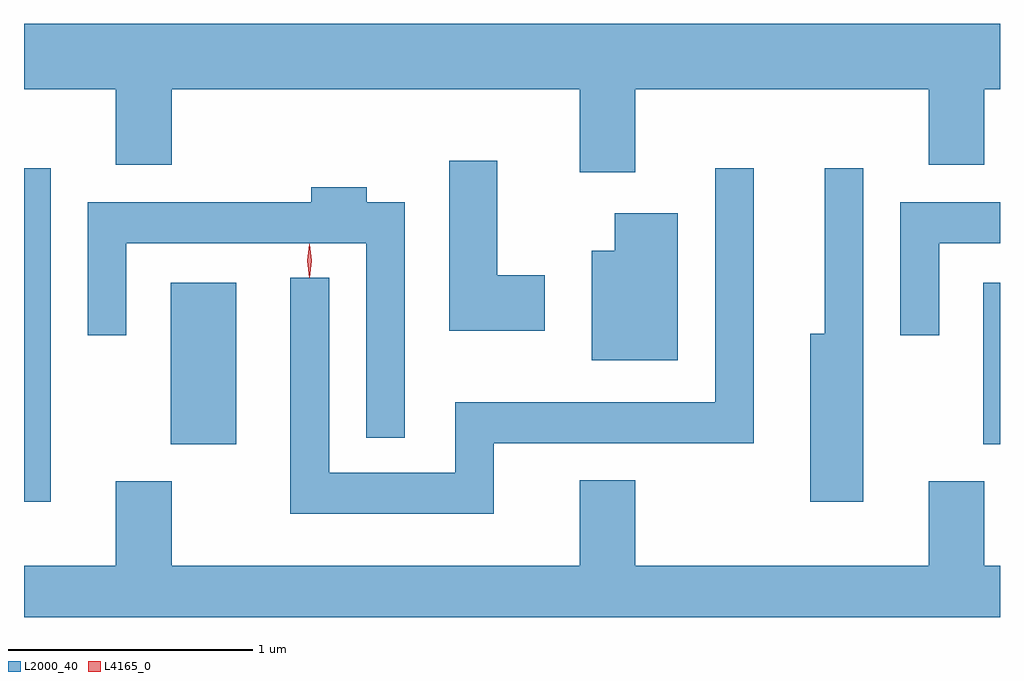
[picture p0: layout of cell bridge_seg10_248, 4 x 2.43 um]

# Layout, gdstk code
import gdstk
lib = gdstk.Library(unit=1e-6, precision=1e-09)
def R(c, l, rs):  # rectangles x0, y0, x1, y1
    for r in rs: c.add(gdstk.rectangle(r[:2], r[2:], *l))
def P(c, l, *ps):  # polygons
    for p in ps: c.add(gdstk.Polygon(p, *l))
L2000_40 = (2000, 40)
L4165_0 = (4165, 0)

bridge_seg10_248 = lib.new_cell('bridge_seg10_248')
R(bridge_seg10_248, L2000_40, [(1815.654,2101.126,1815.764,2102.493), (1816.256,2101.361,1816.524,2102.024), (1819.586,2101.361,1819.654,2102.024)])
P(bridge_seg10_248, L2000_40, [(1818.159,2102.816),(1819.361,2102.816),(1819.361,2102.506),(1819.589,2102.506),(1819.589,2102.816),(1819.654,2102.816),(1819.654,2103.084),(1815.654,2103.084),(1815.654,2102.816),(1816.031,2102.816),(1816.031,2102.506),(1816.259,2102.506),(1816.259,2102.816),(1817.931,2102.816),(1817.931,2102.476),(1818.159,2102.476)],
  [(1817.789,2102.054),(1817.594,2102.054),(1817.594,2102.524),(1817.396,2102.524),(1817.396,2101.826),(1817.789,2101.826)],
  [(1819.094,2102.493),(1818.936,2102.493),(1818.936,2101.814),(1818.876,2101.814),(1818.876,2101.126),(1819.094,2101.126)],
  [(1817.579,2101.366),(1818.644,2101.366),(1818.644,2102.493),(1818.486,2102.493),(1818.486,2101.534),(1817.421,2101.534),(1817.421,2101.244),(1816.904,2101.244),(1816.904,2102.043),(1816.746,2102.043),(1816.746,2101.076),(1817.579,2101.076)],
  [(1817.214,2102.354),(1817.059,2102.354),(1817.059,2102.414),(1816.831,2102.414),(1816.831,2102.354),(1815.916,2102.354),(1815.916,2101.808),(1816.074,2101.808),(1816.074,2102.186),(1817.056,2102.186),(1817.056,2101.388),(1817.214,2101.388)],
  [(1819.404,2102.186),(1819.654,2102.186),(1819.654,2102.354),(1819.246,2102.354),(1819.246,2101.808),(1819.404,2101.808)],
  [(1818.334,2102.309),(1818.076,2102.309),(1818.076,2102.154),(1817.981,2102.154),(1817.981,2101.706),(1818.334,2101.706)],
  [(1817.931,2100.864),(1816.259,2100.864),(1816.259,2101.209),(1816.031,2101.209),(1816.031,2100.864),(1815.654,2100.864),(1815.654,2100.653),(1819.654,2100.653),(1819.654,2100.864),(1819.589,2100.864),(1819.589,2101.209),(1819.361,2101.209),(1819.361,2100.864),(1818.159,2100.864),(1818.159,2101.214),(1817.931,2101.214)])
P(bridge_seg10_248, L4165_0, [(1816.824,2102.044),(1816.824,2102.044),(1816.814,2102.113),(1816.824,2102.182),(1816.824,2102.183),(1816.825,2102.182),(1816.834,2102.113),(1816.825,2102.044)])

lib.write_gds('bridge_seg10_248.gds')
